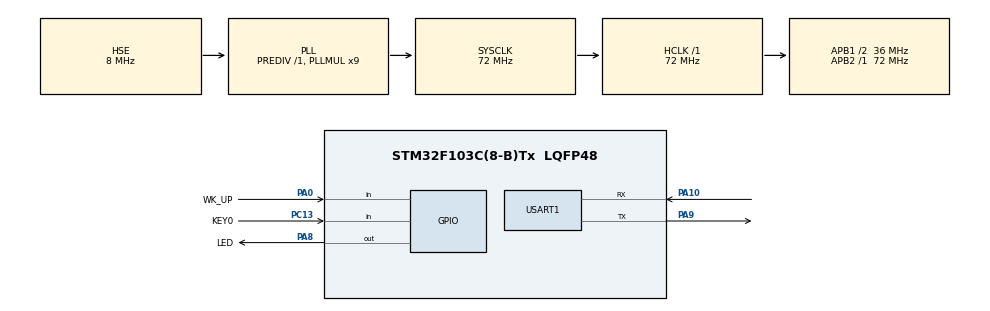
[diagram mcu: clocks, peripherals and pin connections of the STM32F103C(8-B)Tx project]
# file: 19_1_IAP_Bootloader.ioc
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Mcu.Family=STM32F1
Mcu.Name=STM32F103C(8-B)Tx
Mcu.Package=LQFP48
NVIC.PriorityGroup=NVIC_PRIORITYGROUP_2
NVIC.USART1_IRQn=true\:2\:0\:true\:false\:true\:true\:true\:true
PA0-WKUP.GPIO_Label=WK_UP
PA0-WKUP.GPIO_PuPd=GPIO_PULLDOWN
PA0-WKUP.Signal=GPIO_Input
PA10.Mode=Asynchronous
PA10.Signal=USART1_RX
PA13.Mode=Serial_Wire
PA13.Signal=SYS_JTMS-SWDIO
PA14.Mode=Serial_Wire
PA14.Signal=SYS_JTCK-SWCLK
PA8.GPIO_Label=LED
PA8.GPIO_PuPd=GPIO_PULLUP
PA8.GPIO_Speed=GPIO_SPEED_FREQ_HIGH
PA8.PinState=GPIO_PIN_SET
PA8.Signal=GPIO_Output
PA9.Mode=Asynchronous
PA9.Signal=USART1_TX
PC13-TAMPER-RTC.GPIO_Label=KEY0
PC13-TAMPER-RTC.GPIO_PuPd=GPIO_PULLUP
PC13-TAMPER-RTC.Signal=GPIO_Input
PC14-OSC32_IN.Mode=LSE-External-Oscillator
PC14-OSC32_IN.Signal=RCC_OSC32_IN
PC15-OSC32_OUT.Mode=LSE-External-Oscillator
PC15-OSC32_OUT.Signal=RCC_OSC32_OUT
PD0-OSC_IN.Mode=HSE-External-Oscillator
PD0-OSC_IN.Signal=RCC_OSC_IN
PD1-OSC_OUT.Mode=HSE-External-Oscillator
PD1-OSC_OUT.Signal=RCC_OSC_OUT
ProjectManager.HeapSize=0x200
ProjectManager.StackSize=0x400
ProjectManager.TargetToolchain=STM32CubeIDE
RCC.AHBFreq_Value=72000000
RCC.APB1CLKDivider=RCC_HCLK_DIV2
RCC.APB1Freq_Value=36000000
RCC.APB1TimFreq_Value=72000000
RCC.APB2Freq_Value=72000000
RCC.APB2TimFreq_Value=72000000
RCC.HCLKFreq_Value=72000000
RCC.PLLMUL=RCC_PLL_MUL9
RCC.PLLSourceVirtual=RCC_PLLSOURCE_HSE
RCC.SYSCLKFreq_VALUE=72000000
RCC.SYSCLKSource=RCC_SYSCLKSOURCE_PLLCLK
RCC.USBFreq_Value=72000000
USART1.VirtualMode=VM_ASYNC
board=custom

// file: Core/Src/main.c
/**
 ****************************************************************************************************
 * @file        main.c
 * @author      ALIENTEK
 * @brief       IAP BootLoader V1.0
 * @license     Copyright (C) 2020-2032, ALIENTEK
 ****************************************************************************************************
 * @attention
 *
 * platform  	: ALIENTEK STM32F103 development board
 * website		: https://www.alientek.com
 * forum		: http://www.openedv.com/forum.php
 *
 * change logs	:
 * version		data		notes
 * V1.0			20240222	the first version
 *
 ****************************************************************************************************
 */

/* USER CODE BEGIN Header */

/* USER CODE END Header */
#include "main.h"
#include "usart.h"
#include "gpio.h"

/* USER CODE BEGIN Includes */
#include "../../BSP/LED/led.h"
#include "../../BSP/KEY/key.h"
#include "../../BSP/STMFLASH/stmflash.h"
#include "../../ATK_Middlewares/IAP/iap.h"
/* USER CODE END Includes */

/* USER CODE BEGIN PTD */

void stm32f103c8t6_show_mesg(void)
{
	/* The serial port outputs the experimental information */
	printf("\n");
	printf("********************************\r\n");
	printf("STM32F103\r\n");
	printf("Flash EEPROM Test\r\n");
	printf("ATOM@ALIENTEK\r\n");
    printf("KEY0:Starting firmware update\r\n");
    printf("KEY_UP:Start executing FLASH user code\r\n");
	printf("********************************\r\n");
	printf("\r\n");
}

/* USER CODE END PTD */

void SystemClock_Config(void);

int main(void)
{
  /* USER CODE BEGIN 1 */

    uint32_t lastcount = 0;
    uint32_t applenth = 0;
    uint8_t clearflag = 0;
    uint8_t t = 0;
    uint8_t key;

  /* USER CODE END 1 */

  /* MCU Configuration--------------------------------------------------------*/

  /* Reset of all peripherals, Initializes the Flash interface and the Systick. */
  HAL_Init();

  /* Configure the system clock */
  SystemClock_Config();

  /* Initialize all configured peripherals */
  MX_GPIO_Init();
  MX_USART1_UART_Init();
  /* USER CODE BEGIN 2 */

  stm32f103c8t6_show_mesg();

  /* USER CODE END 2 */

  /* Infinite loop */
  /* USER CODE BEGIN WHILE */
  while (1)
  {
      if (g_usart_rx_cnt)
      {
          if (lastcount == g_usart_rx_cnt)   /* If no data is received within the new period, the data reception is considered complete */
          {
              applenth = g_usart_rx_cnt;
              lastcount = 0;
              g_usart_rx_cnt = 0;
              printf("User program reception completed !\r\n");
              printf("Code length :%dBytes\r\n", applenth);
          }
          else
          {
              lastcount = g_usart_rx_cnt;
          }
      }

      t++;
      key = key_scan(0);

      switch (key)
      {
          case KEY0_PRES:                                     /* The bin data of the received APP is written to the Flash */
          {
              if (applenth != 0)
              {
                  printf("Start updating firmware...\r\n");
                  printf("Copying APP2FLASH...\r\n");
                  if (((*(volatile uint32_t *)(0x20002000 + 4)) & 0xFF000000) == 0x08000000)
                  {
                      iap_write_appbin(FLASH_APP1_ADDR, g_usart_rx_buf, applenth);
                      printf("Copy APP Successed!!\r\n");
                      printf("Firmware update complete !\r\n");
                  }
                  else
                  {
                      printf("Illegal FLASH APP!  \r\n");
                      printf("Non-flash applications !\r\n");
                  }
              }
              else
              {
                  printf("There is no firmware to update !\r\n");
                  printf("No APP!\r\n");
              }
              clearflag = 7;
              break;
          }
          case WKUP_PRES:                                         /* Run the APP in Flash */
          {
              printf("flash addr :%x \r\n",(*(volatile uint32_t *)(FLASH_APP1_ADDR + 4)) & 0xFF000000);

              if (((*(volatile uint32_t *)(FLASH_APP1_ADDR + 4)) & 0xFF000000) == 0x08000000)
              {
                  printf("The FLASH user code starts to execute!\r\n\r\n");
                  HAL_Delay(10);
                  iap_load_app(FLASH_APP1_ADDR);
              }
              else
              {
                  printf("There is no firmware to run !\r\n");
                  printf("No APP!\r\n");
              }
              clearflag = 7;
              break;
          }
          default:
          {
              break;
          }
      }

      if (t == 2)
      {
          LED_TOGGLE();
          if (clearflag != 0)
          {
              clearflag--;
              if (clearflag == 0)
              {
              }
          }
          t = 0;
      }

      HAL_Delay(100);
    /* USER CODE END WHILE */

  }
}

void SystemClock_Config(void)
{
  RCC_OscInitTypeDef RCC_OscInitStruct = {0};
  RCC_ClkInitTypeDef RCC_ClkInitStruct = {0};

  /** Initializes the RCC Oscillators according to the specified parameters
  * in the RCC_OscInitTypeDef structure.
  */
  RCC_OscInitStruct.OscillatorType = RCC_OSCILLATORTYPE_HSE;
  RCC_OscInitStruct.HSEState = RCC_HSE_ON;
  RCC_OscInitStruct.HSEPredivValue = RCC_HSE_PREDIV_DIV1;
  RCC_OscInitStruct.HSIState = RCC_HSI_ON;
  RCC_OscInitStruct.PLL.PLLState = RCC_PLL_ON;
  RCC_OscInitStruct.PLL.PLLSource = RCC_PLLSOURCE_HSE;
  RCC_OscInitStruct.PLL.PLLMUL = RCC_PLL_MUL9;
  if (HAL_RCC_OscConfig(&RCC_OscInitStruct) != HAL_OK)
  {
    Error_Handler();
  }

  /** Initializes the CPU, AHB and APB buses clocks
  */
  RCC_ClkInitStruct.ClockType = RCC_CLOCKTYPE_HCLK|RCC_CLOCKTYPE_SYSCLK
                              |RCC_CLOCKTYPE_PCLK1|RCC_CLOCKTYPE_PCLK2;
  RCC_ClkInitStruct.SYSCLKSource = RCC_SYSCLKSOURCE_PLLCLK;
  RCC_ClkInitStruct.AHBCLKDivider = RCC_SYSCLK_DIV1;
  RCC_ClkInitStruct.APB1CLKDivider = RCC_HCLK_DIV2;
  RCC_ClkInitStruct.APB2CLKDivider = RCC_HCLK_DIV1;

  if (HAL_RCC_ClockConfig(&RCC_ClkInitStruct, FLASH_LATENCY_2) != HAL_OK)
  {
    Error_Handler();
  }
}

void Error_Handler(void)
{
  __disable_irq();
  while (1)
  {
  }
}
